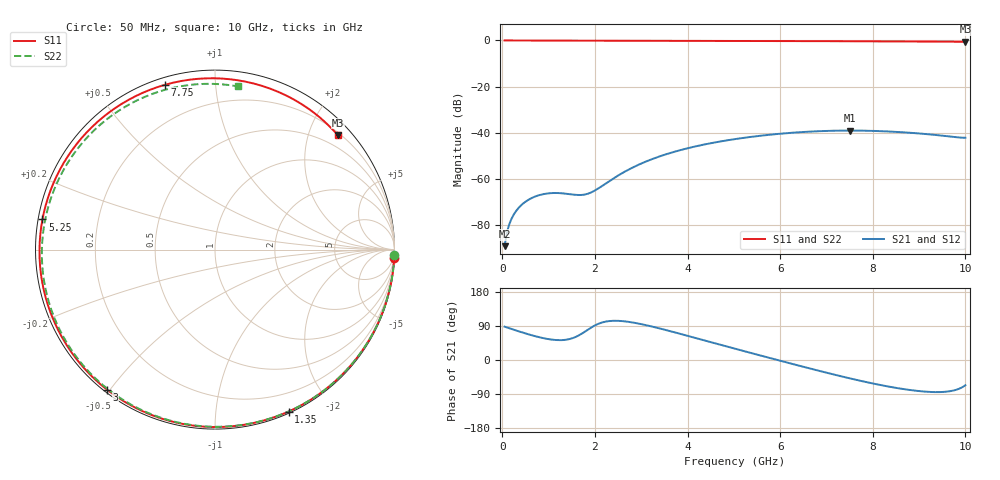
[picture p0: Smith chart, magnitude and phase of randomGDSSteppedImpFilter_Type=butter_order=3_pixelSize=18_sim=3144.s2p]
! freq	dB(S11)	phase(S11)	dB(S12)	phase(S12)
!  dB(S21)	phase(S21)	dB(S22)	phase(S22)
!S-par simulation data
#  GHz  S  DB  R 50
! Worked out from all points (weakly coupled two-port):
!   200 points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, 50 MHz to 10 GHz, reference 50 ohm
!   highest |S21| = -39.08 dB at 7.5 GHz (marker M1); lowest = -89.2 dB at 50 MHz (marker M2)
!   lowest |S11| = -0.6 dB at 10 GHz (marker M3), VSWR 29.82, Z = 12.4 + j126 ohm
!   |S11| at or under -10 dB: nowhere
!   |S22| runs from -0.7 to 0.0 dB; largest |S21 - S12| = 0
!   S11 on the Smith chart (normalised r, x): 50 MHz: 0, -44; 1.35 GHz: 0.02, -1.55; 3 GHz: 0.01, -0.49; 5.25 GHz: 0.01, +0.09; 7.75 GHz: 0.03, +0.74; 10 GHz: 0.25, +2.51
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0.05  -0.00 -2.6  -89.21 88.0  -89.21 88.0  -0.00 -1.6
0.15  -0.01 -7.7  -79.73 83.9  -79.73 83.9  -0.01 -4.8
0.25  -0.02 -12.8  -75.41 79.8  -75.41 79.8  -0.01 -8.0
0.35  -0.02 -17.9  -72.66 75.9  -72.66 75.9  -0.02 -11.1
0.6  -0.04 -30.4  -68.70 66.5  -68.70 66.5  -0.02 -19.0
0.95  -0.06 -47.3  -66.42 56.1  -66.42 56.1  -0.04 -29.9
1.35  -0.08 -65.6  -66.40 53.1  -66.40 53.1  -0.05 -42.1
1.75  -0.09 -82.6  -66.92 72.1  -66.92 72.1  -0.07 -54.1
1.95  -0.10 -90.6  -65.60 87.9  -65.60 87.9  -0.07 -60.0
2.3  -0.11 -103.8  -61.14 102.6  -61.14 102.6  -0.09 -70.1
3  -0.13 -127.7  -53.38 94.7  -53.38 94.7  -0.11 -89.5
3.4  -0.14 -140.0  -50.27 83.2  -50.27 83.2  -0.13 -100.2
4.2  -0.17 -162.7  -45.81 57.2  -45.81 57.2  -0.16 -120.7
5.05  -0.20 175.1  -42.70 29.0  -42.70 29.0  -0.20 -141.7
5.25  -0.21 170.1  -42.13 22.4  -42.13 22.4  -0.22 -146.6
6  -0.25 151.4  -40.45 -1.9  -40.45 -1.9  -0.26 -164.9
6.7  -0.29 133.9  -39.47 -24.2  -39.47 -24.2  -0.32 177.8
7.5  -0.34 113.4  -39.08 -48.4  -39.08 -48.4  -0.39 157.3
7.75  -0.36 106.9  -39.11 -55.3  -39.11 -55.3  -0.42 150.7
8.35  -0.40 90.7  -39.49 -70.3  -39.49 -70.3  -0.49 134.0
9.25  -0.48 65.3  -40.77 -84.4  -40.77 -84.4  -0.61 106.9
10  -0.58 43.1  -42.20 -66.6  -42.20 -66.6  -0.74 82.0
